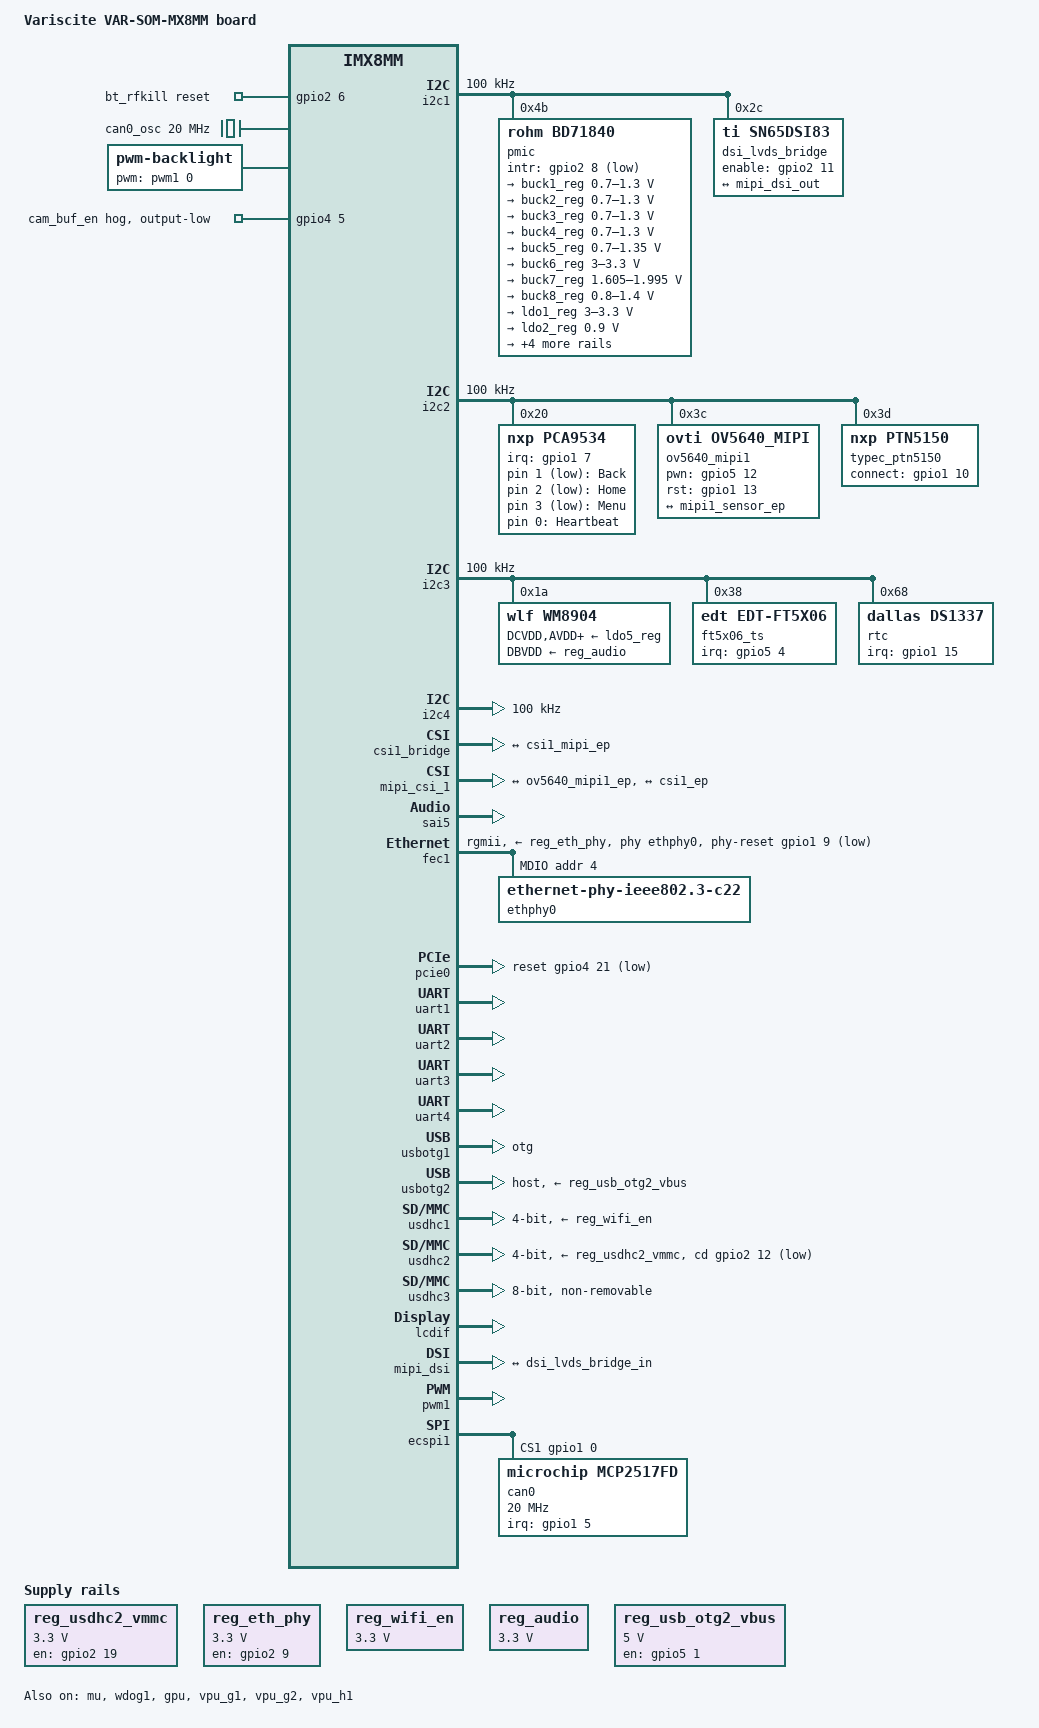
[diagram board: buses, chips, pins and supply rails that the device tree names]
/*
 * Copyright 2018 NXP
 * Copyright 2019 Variscite Ltd.
 *
 * This program is free software; you can redistribute it and/or
 * modify it under the terms of the GNU General Public License
 * as published by the Free Software Foundation; either version 2
 * of the License, or (at your option) any later version.
 *
 * This program is distributed in the hope that it will be useful,
 * but WITHOUT ANY WARRANTY; without even the implied warranty of
 * MERCHANTABILITY or FITNESS FOR A PARTICULAR PURPOSE.  See the
 * GNU General Public License for more details.
 */

/dts-v1/;

#include "fsl-imx8mm.dtsi"

/ {
	firmware {
		android {
			compatible = "android,firmware";
			fstab {
				compatible = "android,fstab";
				vendor {
					compatible = "android,vendor";
					/* sd card node which used if androidboot.storage_type=sd */
					dev_sd = "/dev/block/platform/30b50000.mmc/by-name/vendor";
					/* emmc node which used if androidboot.storage_type=emmc */
					dev_emmc = "/dev/block/platform/30b60000.mmc/by-name/vendor";
					type = "ext4";
					mnt_flags = "ro,barrier=1,inode_readahead_blks=8";
					fsmgr_flags = "wait,slotselect,avb";
				};
			};
			vbmeta {
				/*we need use FirstStageMountVBootV2 if we enable avb*/
				compatible = "android,vbmeta";
				/*parts means the partition witch can be mount in first stage*/
				parts = "vbmeta,boot,system,vendor";
			};
		};
	};

	bt_rfkill {
		compatible = "net,rfkill-gpio";
		pinctrl-names = "default";
		pinctrl-0 = <&pinctrl_bt>;
		reset-gpios = <&gpio2 6 GPIO_ACTIVE_HIGH>;
		name = "bt_rfkill";
		type = "bluetooth";
		status = "okay";
	};
};

/ {
	model = "Variscite VAR-SOM-MX8MM board";
	compatible = "variscite,dart-mx8mm", "fsl,imx8mm";

	chosen {
		bootargs = "console=ttymxc3,115200 earlycon=ec_imx6q,0x30a60000,115200";
		stdout-path = &uart4;
	};

	regulators {
		compatible = "simple-bus";
		#address-cells = <1>;
		#size-cells = <0>;

		reg_usdhc2_vmmc: regulator-usdhc2 {
			compatible = "regulator-fixed";
			regulator-name = "VSD_3V3";
			regulator-min-microvolt = <3300000>;
			regulator-max-microvolt = <3300000>;
			gpio = <&gpio2 19 GPIO_ACTIVE_HIGH>;
			off-on-delay = <20000>;
			enable-active-high;
		};

		reg_eth_phy: regulator-eth-phy {
			compatible = "regulator-fixed";
			regulator-name = "eth_phy_pwr";
			regulator-min-microvolt = <3300000>;
			regulator-max-microvolt = <3300000>;
			gpio = <&gpio2 9 GPIO_ACTIVE_HIGH>;
			enable-active-high;
		};

		reg_wifi_en: wifi_en {
			compatible = "regulator-fixed";
			regulator-name = "WIFI_REG_ON";
			regulator-min-microvolt = <3300000>;
			regulator-max-microvolt = <3300000>;
		};

		reg_audio: audio_vdd {
			compatible = "regulator-fixed";
			regulator-name = "wm8904_supply";
			regulator-min-microvolt = <3300000>;
			regulator-max-microvolt = <3300000>;
			regulator-always-on;
		};

                reg_usb_otg2_vbus: regulator-usb-otg2-vbus {
			compatible = "regulator-fixed";
			regulator-name = "usb_otg2_vbus";
			regulator-min-microvolt = <5000000>;
			regulator-max-microvolt = <5000000>;
			gpio = <&gpio5 1 GPIO_ACTIVE_HIGH>;
			enable-active-high;
		};
	};

	can0_osc: can0_osc {
		compatible = "fixed-clock";
		#clock-cells = <0>;
		clock-frequency = <20000000>;
	};

	reserved-memory {
		/* cma region is provided by kernel command line as cma=<size>M */
		/delete-node/ linux,cma;

		/delete-node/ rpmsg@0xb8000000;
		rpmsg_reserved: rpmsg@0x40000000 {
			no-map;
			reg = <0 0x40000000 0 0x400000>;
		};
	};

	sound-spdif {
		compatible = "fsl,imx-audio-spdif";
		model = "imx-spdif";
		spdif-controller = <&spdif1>;
		spdif-out;
		spdif-in;
		status = "disabled";
	};

	sound-wm8904 {
		compatible = "fsl,imx-audio-wm8904";
		model = "imx-wm8904";
		audio-cpu = <&sai5>;
		audio-codec = <&wm8904>;
		audio-routing =
			"Headphone Jack", "HPOUTL",
			"Headphone Jack", "HPOUTR",
			"IN2L", "Line In Jack",
			"IN2R", "Line In Jack",
			"IN1L", "Mic Jack",
			"Playback", "CPU-Playback",
			"CPU-Capture", "Capture";
		status = "okay";
	};

	backlight: backlight {
		compatible = "pwm-backlight";
		pwms = <&pwm1 0 1000000 0>;
		brightness-levels = < 0  1  2  3  4  5  6  7  8  9
				     10 11 12 13 14 15 16 17 18 19
				     20 21 22 23 24 25 26 27 28 29
				     30 31 32 33 34 35 36 37 38 39
				     40 41 42 43 44 45 46 47 48 49
				     50 51 52 53 54 55 56 57 58 59
				     60 61 62 63 64 65 66 67 68 69
				     70 71 72 73 74 75 76 77 78 79
				     80 81 82 83 84 85 86 87 88 89
				     90 91 92 93 94 95 96 97 98 99
				    100>;
		default-brightness-level = <80>;
		status = "okay";
	};

	gpio-keys {
		compatible = "gpio-keys";

		back {
			label = "Back";
			gpios = <&pca9534 1 GPIO_ACTIVE_LOW>;
			linux,code = <KEY_BACK>;
		};

		home {
			label = "Home";
			gpios = <&pca9534 2 GPIO_ACTIVE_LOW>;
			linux,code = <KEY_HOME>;
		};

		menu {
			label = "Menu";
			gpios = <&pca9534 3 GPIO_ACTIVE_LOW>;
			linux,code = <KEY_MENU>;
		};
	};

	leds {
		compatible = "gpio-leds";

		heartbeat {
			label = "Heartbeat";
			gpios = <&pca9534 0 GPIO_ACTIVE_HIGH>;
			linux,default-trigger = "heartbeat";
		};
	};
};

&clk {
	assigned-clocks = <&clk IMX8MM_AUDIO_PLL1>;
	assigned-clock-rates = <786432000>;
};

&iomuxc {
	pinctrl-names = "default";
	imx8mm-var-som {

		pinctrl_csi1: csi1grp {
			fsl,pins = <
				MX8MM_IOMUXC_GPIO1_IO13_GPIO1_IO13		0x19 /* CAM_RST */
				MX8MM_IOMUXC_ECSPI2_MISO_GPIO5_IO12		0x19 /* CAM_PWR */
				MX8MM_IOMUXC_SAI1_RXD3_GPIO4_IO5		0x19 /* CAM_BUF */
			>;
		};

		pinctrl_fec1: fec1grp {
			fsl,pins = <
				MX8MM_IOMUXC_ENET_MDC_ENET1_MDC			0x3
				MX8MM_IOMUXC_ENET_MDIO_ENET1_MDIO		0x3
				MX8MM_IOMUXC_ENET_TD3_ENET1_RGMII_TD3		0x1f
				MX8MM_IOMUXC_ENET_TD2_ENET1_RGMII_TD2		0x1f
				MX8MM_IOMUXC_ENET_TD1_ENET1_RGMII_TD1		0x1f
				MX8MM_IOMUXC_ENET_TD0_ENET1_RGMII_TD0		0x1f
				MX8MM_IOMUXC_ENET_RD3_ENET1_RGMII_RD3		0x91
				MX8MM_IOMUXC_ENET_RD2_ENET1_RGMII_RD2		0x91
				MX8MM_IOMUXC_ENET_RD1_ENET1_RGMII_RD1		0x91
				MX8MM_IOMUXC_ENET_RD0_ENET1_RGMII_RD0		0x91
				MX8MM_IOMUXC_ENET_TXC_ENET1_RGMII_TXC		0x1f
				MX8MM_IOMUXC_ENET_RXC_ENET1_RGMII_RXC		0x91
				MX8MM_IOMUXC_ENET_RX_CTL_ENET1_RGMII_RX_CTL	0x91
				MX8MM_IOMUXC_ENET_TX_CTL_ENET1_RGMII_TX_CTL	0x1f
				MX8MM_IOMUXC_GPIO1_IO09_GPIO1_IO9		0x19
				MX8MM_IOMUXC_SD1_DATA7_GPIO2_IO9		0x41
			>;
		};

		pinctrl_i2c1: i2c1grp {
			fsl,pins = <
				MX8MM_IOMUXC_I2C1_SCL_I2C1_SCL			0x400001c3
				MX8MM_IOMUXC_I2C1_SDA_I2C1_SDA			0x400001c3
			>;
		};

		pinctrl_i2c2: i2c2grp {
			fsl,pins = <
				MX8MM_IOMUXC_I2C2_SCL_I2C2_SCL			0x400001c3
				MX8MM_IOMUXC_I2C2_SDA_I2C2_SDA			0x400001c3
			>;
		};

		pinctrl_i2c3: i2c3grp {
			fsl,pins = <
				MX8MM_IOMUXC_I2C3_SCL_I2C3_SCL			0x400001c3
				MX8MM_IOMUXC_I2C3_SDA_I2C3_SDA			0x400001c3
			>;
		};

		pinctrl_i2c4: i2c4grp {
			fsl,pins = <
				MX8MM_IOMUXC_I2C4_SCL_I2C4_SCL			0x400001c3
				MX8MM_IOMUXC_I2C4_SDA_I2C4_SDA			0x400001c3
			>;
		};

		pinctrl_pcie0: pcie0grp {
			fsl,pins = <
				MX8MM_IOMUXC_SAI2_RXFS_GPIO4_IO21		0x41
			>;
		};

		pinctrl_pmic: pmicirq {
			fsl,pins = <
				MX8MM_IOMUXC_SD1_DATA6_GPIO2_IO8		0x41
			>;
		};

		pinctrl_sai5: sai5grp {
			fsl,pins = <
				MX8MM_IOMUXC_SAI5_RXD1_SAI5_TX_SYNC		0xd6
				MX8MM_IOMUXC_SAI5_RXFS_SAI5_RX_SYNC		0xd6
				MX8MM_IOMUXC_SAI5_RXD3_SAI5_TX_DATA0		0xd6
				MX8MM_IOMUXC_SAI5_RXD0_SAI5_RX_DATA0		0xd6
				MX8MM_IOMUXC_SAI5_RXC_SAI5_RX_BCLK		0xd6
				MX8MM_IOMUXC_SAI5_RXD2_SAI5_TX_BCLK		0xd6
				MX8MM_IOMUXC_SAI5_MCLK_SAI5_MCLK		0xd6	
			>;
		};

		pinctrl_spdif1: spdif1grp {
			fsl,pins = <
				MX8MM_IOMUXC_SPDIF_TX_SPDIF1_OUT		0xd6
				MX8MM_IOMUXC_SPDIF_RX_SPDIF1_IN			0xd6
			>;
		};

		pinctrl_uart1: uart1grp {
			fsl,pins = <
				MX8MM_IOMUXC_UART1_RXD_UART1_DCE_RX		0x140
				MX8MM_IOMUXC_UART1_TXD_UART1_DCE_TX		0x140
			>;
		};

		pinctrl_uart2: uart2grp {
			fsl,pins = <
				MX8MM_IOMUXC_SAI3_TXFS_UART2_DCE_RX		0x140
				MX8MM_IOMUXC_SAI3_TXC_UART2_DCE_TX		0x140
				MX8MM_IOMUXC_SAI3_RXC_UART2_DCE_CTS_B		0x140
				MX8MM_IOMUXC_SAI3_RXD_UART2_DCE_RTS_B		0x140
			>;
		};

		pinctrl_uart3: uart3grp {
			fsl,pins = <
				MX8MM_IOMUXC_UART3_RXD_UART3_DCE_RX		0x140
				MX8MM_IOMUXC_UART3_TXD_UART3_DCE_TX		0x140
			>;
		};

		pinctrl_uart4: uart4grp {
			fsl,pins = <
				MX8MM_IOMUXC_UART4_RXD_UART4_DCE_RX		0x140
				MX8MM_IOMUXC_UART4_TXD_UART4_DCE_TX		0x140
			>;
		};

		pinctrl_usdhc1: usdhc1grp {
			fsl,pins = <
				MX8MM_IOMUXC_SD1_CLK_USDHC1_CLK			0x190
				MX8MM_IOMUXC_SD1_CMD_USDHC1_CMD			0x1d0
				MX8MM_IOMUXC_SD1_DATA0_USDHC1_DATA0		0x1d0
				MX8MM_IOMUXC_SD1_DATA1_USDHC1_DATA1		0x1d0
				MX8MM_IOMUXC_SD1_DATA2_USDHC1_DATA2		0x1d0
				MX8MM_IOMUXC_SD1_DATA3_USDHC1_DATA3		0x1d0
			>;
		};

		pinctrl_usdhc1_100mhz: usdhc1grp100mhz {
			fsl,pins = <
				MX8MM_IOMUXC_SD1_CLK_USDHC1_CLK			0x194
				MX8MM_IOMUXC_SD1_CMD_USDHC1_CMD			0x1d4
				MX8MM_IOMUXC_SD1_DATA0_USDHC1_DATA0		0x1d4
				MX8MM_IOMUXC_SD1_DATA1_USDHC1_DATA1		0x1d4
				MX8MM_IOMUXC_SD1_DATA2_USDHC1_DATA2		0x1d4
				MX8MM_IOMUXC_SD1_DATA3_USDHC1_DATA3		0x1d4
			>;
		};

		pinctrl_usdhc1_200mhz: usdhc1grp200mhz {
			fsl,pins = <
				MX8MM_IOMUXC_SD1_CLK_USDHC1_CLK			0x196
				MX8MM_IOMUXC_SD1_CMD_USDHC1_CMD			0x1d6
				MX8MM_IOMUXC_SD1_DATA0_USDHC1_DATA0		0x1d6
				MX8MM_IOMUXC_SD1_DATA1_USDHC1_DATA1		0x1d6
				MX8MM_IOMUXC_SD1_DATA2_USDHC1_DATA2		0x1d6
				MX8MM_IOMUXC_SD1_DATA3_USDHC1_DATA3		0x1d6
			>;
		};

		pinctrl_usdhc2_gpio: usdhc2grpgpio {
			fsl,pins = <
				MX8MM_IOMUXC_SD2_RESET_B_GPIO2_IO19		0xc1
				MX8MM_IOMUXC_SD2_CD_B_GPIO2_IO12		0xc1
			>;
		};

		pinctrl_usdhc2: usdhc2grp {
			fsl,pins = <
				MX8MM_IOMUXC_SD2_CLK_USDHC2_CLK			0x190
				MX8MM_IOMUXC_SD2_CMD_USDHC2_CMD			0x1d0
				MX8MM_IOMUXC_SD2_DATA0_USDHC2_DATA0		0x1d0
				MX8MM_IOMUXC_SD2_DATA1_USDHC2_DATA1		0x1d0
				MX8MM_IOMUXC_SD2_DATA2_USDHC2_DATA2		0x1d0
				MX8MM_IOMUXC_SD2_DATA3_USDHC2_DATA3		0x1d0
				MX8MM_IOMUXC_GPIO1_IO04_USDHC2_VSELECT		0x1d0
			>;
		};

		pinctrl_usdhc2_100mhz: usdhc2grp100mhz {
			fsl,pins = <
				MX8MM_IOMUXC_SD2_CLK_USDHC2_CLK			0x194
				MX8MM_IOMUXC_SD2_CMD_USDHC2_CMD			0x1d4
				MX8MM_IOMUXC_SD2_DATA0_USDHC2_DATA0		0x1d4
				MX8MM_IOMUXC_SD2_DATA1_USDHC2_DATA1		0x1d4
				MX8MM_IOMUXC_SD2_DATA2_USDHC2_DATA2		0x1d4
				MX8MM_IOMUXC_SD2_DATA3_USDHC2_DATA3		0x1d4
				MX8MM_IOMUXC_GPIO1_IO04_USDHC2_VSELECT		0x1d0
			>;
		};

		pinctrl_usdhc2_200mhz: usdhc2grp200mhz {
			fsl,pins = <
				MX8MM_IOMUXC_SD2_CLK_USDHC2_CLK			0x196
				MX8MM_IOMUXC_SD2_CMD_USDHC2_CMD			0x1d6
				MX8MM_IOMUXC_SD2_DATA0_USDHC2_DATA0		0x1d6
				MX8MM_IOMUXC_SD2_DATA1_USDHC2_DATA1		0x1d6
				MX8MM_IOMUXC_SD2_DATA2_USDHC2_DATA2		0x1d6
				MX8MM_IOMUXC_SD2_DATA3_USDHC2_DATA3		0x1d6
				MX8MM_IOMUXC_GPIO1_IO04_USDHC2_VSELECT		0x1d0
			>;
		};

		pinctrl_usdhc3: usdhc3grp {
			fsl,pins = <
				MX8MM_IOMUXC_NAND_WE_B_USDHC3_CLK		0x190
				MX8MM_IOMUXC_NAND_WP_B_USDHC3_CMD		0x1d0
				MX8MM_IOMUXC_NAND_DATA04_USDHC3_DATA0		0x1d0
				MX8MM_IOMUXC_NAND_DATA05_USDHC3_DATA1		0x1d0
				MX8MM_IOMUXC_NAND_DATA06_USDHC3_DATA2		0x1d0
				MX8MM_IOMUXC_NAND_DATA07_USDHC3_DATA3		0x1d0
				MX8MM_IOMUXC_NAND_RE_B_USDHC3_DATA4		0x1d0
				MX8MM_IOMUXC_NAND_CE2_B_USDHC3_DATA5		0x1d0
				MX8MM_IOMUXC_NAND_CE3_B_USDHC3_DATA6		0x1d0
				MX8MM_IOMUXC_NAND_CLE_USDHC3_DATA7		0x1d0
				MX8MM_IOMUXC_NAND_CE1_B_USDHC3_STROBE 		0x190
			>;
		};

		pinctrl_usdhc3_100mhz: usdhc3grp100mhz {
			fsl,pins = <
				MX8MM_IOMUXC_NAND_WE_B_USDHC3_CLK		0x194
				MX8MM_IOMUXC_NAND_WP_B_USDHC3_CMD		0x1d4
				MX8MM_IOMUXC_NAND_DATA04_USDHC3_DATA0		0x1d4
				MX8MM_IOMUXC_NAND_DATA05_USDHC3_DATA1		0x1d4
				MX8MM_IOMUXC_NAND_DATA06_USDHC3_DATA2		0x1d4
				MX8MM_IOMUXC_NAND_DATA07_USDHC3_DATA3		0x1d4
				MX8MM_IOMUXC_NAND_RE_B_USDHC3_DATA4		0x1d4
				MX8MM_IOMUXC_NAND_CE2_B_USDHC3_DATA5		0x1d4
				MX8MM_IOMUXC_NAND_CE3_B_USDHC3_DATA6		0x1d4
				MX8MM_IOMUXC_NAND_CLE_USDHC3_DATA7		0x1d4
				MX8MM_IOMUXC_NAND_CE1_B_USDHC3_STROBE 		0x194
			>;
		};

		pinctrl_usdhc3_200mhz: usdhc3grp200mhz {
			fsl,pins = <
				MX8MM_IOMUXC_NAND_WE_B_USDHC3_CLK		0x196
				MX8MM_IOMUXC_NAND_WP_B_USDHC3_CMD		0x1d6
				MX8MM_IOMUXC_NAND_DATA04_USDHC3_DATA0		0x1d6
				MX8MM_IOMUXC_NAND_DATA05_USDHC3_DATA1		0x1d6
				MX8MM_IOMUXC_NAND_DATA06_USDHC3_DATA2		0x1d6
				MX8MM_IOMUXC_NAND_DATA07_USDHC3_DATA3		0x1d6
				MX8MM_IOMUXC_NAND_RE_B_USDHC3_DATA4		0x1d6
				MX8MM_IOMUXC_NAND_CE2_B_USDHC3_DATA5		0x1d6
				MX8MM_IOMUXC_NAND_CE3_B_USDHC3_DATA6		0x1d6
				MX8MM_IOMUXC_NAND_CLE_USDHC3_DATA7		0x1d6
				MX8MM_IOMUXC_NAND_CE1_B_USDHC3_STROBE 		0x196
			>;
		};

		pinctrl_wdog: wdoggrp {
			fsl,pins = <
				MX8MM_IOMUXC_GPIO1_IO02_WDOG1_WDOG_B		0xc6
			>;
		};

		pinctrl_wifi: wifigrp {
			fsl,pins = <
				MX8MM_IOMUXC_SD1_DATA5_GPIO2_IO7		0xc1	/* WIFI_3V3_PWR_EN */
				MX8MM_IOMUXC_SD2_WP_GPIO2_IO20			0x140	/* WIFI_1V8_PWR_EN */
				MX8MM_IOMUXC_SD1_RESET_B_GPIO2_IO10		0xc1	/* WIFI_REG_ON     */
			>;
		};

		pinctrl_bt: btgrp {
			fsl,pins = <
				MX8MM_IOMUXC_SD1_DATA4_GPIO2_IO6		0xc1	/* BT_REG_ON       */
			>;
		};

		pinctrl_typec: typecgrp {
			fsl,pins = <
				MX8MM_IOMUXC_GPIO1_IO10_GPIO1_IO10		0x16
			>;
		};

		pinctrl_rtc: rtcgrp {
			fsl,pins = <
				MX8MM_IOMUXC_GPIO1_IO15_GPIO1_IO15		0x1c1
			>;
		};

		pinctrl_lvds: lvdsgrp {
			fsl,pins = <
				MX8MM_IOMUXC_SD1_STROBE_GPIO2_IO11		0x16
			>;
		};

		pinctrl_pwm1: pwm1grp {
			fsl,pins = <
				MX8MM_IOMUXC_SPDIF_EXT_CLK_PWM1_OUT		0x06
			>;
		};

		pinctrl_captouch: captouchgrp {
			fsl,pins = <
				MX8MM_IOMUXC_SPDIF_RX_GPIO5_IO4			0x16
			>;
		};

		pinctrl_ecspi1: ecspi1grp {
			fsl,pins = <
				MX8MM_IOMUXC_ECSPI1_SCLK_ECSPI1_SCLK		0x13
				MX8MM_IOMUXC_ECSPI1_MOSI_ECSPI1_MOSI		0x13
				MX8MM_IOMUXC_ECSPI1_MISO_ECSPI1_MISO		0x13
				MX8MM_IOMUXC_GPIO1_IO14_GPIO1_IO14		0x13
				MX8MM_IOMUXC_GPIO1_IO00_GPIO1_IO0		0x13
			>;
		};

		pinctrl_can: cangrp {
			fsl,pins = <
				MX8MM_IOMUXC_GPIO1_IO05_GPIO1_IO5		0x16
			>;
		};

		pinctrl_restouch: restouchgrp {
			fsl,pins = <
				MX8MM_IOMUXC_GPIO1_IO03_GPIO1_IO3		0x1c0
			>;
		};

		pinctrl_usbotg2: usbotg2grp {
			fsl,pins = <
				MX8MM_IOMUXC_SAI3_TXD_GPIO5_IO1			0x16
			>;
		};

		pinctrl_pca9534: pca9534grp {
			fsl,pins = <
                        	   MX8MM_IOMUXC_GPIO1_IO07_GPIO1_IO7		0x16   
			>;
		};
	};
};

&i2c1 {
	clock-frequency = <100000>;
	pinctrl-names = "default";
	pinctrl-0 = <&pinctrl_i2c1>;
	status = "okay";

	pmic: bd71837@4b {
		reg = <0x4b>;
		compatible = "rohm,bd71840", "rohm,bd71837";
		pinctrl-0 = <&pinctrl_pmic>;
		gpio_intr = <&gpio2 8 GPIO_ACTIVE_LOW>;

		gpo {
			rohm,drv = <0x0C>;	/* 0b0000_1100 all gpos with cmos output mode */
		};

		regulators {
			#address-cells = <1>;
			#size-cells = <0>;

			bd71837,pmic-buck2-uses-i2c-dvs;
			bd71837,pmic-buck2-dvs-voltage = <1000000>, <900000>, <0>; /* VDD_ARM: Run-Idle */

			buck1_reg: regulator@0 {
				reg = <0>;
				regulator-compatible = "buck1";
				regulator-min-microvolt = <700000>;
				regulator-max-microvolt = <1300000>;
				regulator-boot-on;
				regulator-always-on;
				regulator-ramp-delay = <1250>;
			};

			buck2_reg: regulator@1 {
				reg = <1>;
				regulator-compatible = "buck2";
				regulator-min-microvolt = <700000>;
				regulator-max-microvolt = <1300000>;
				regulator-boot-on;
				regulator-always-on;
				regulator-ramp-delay = <1250>;
			};

			buck3_reg: regulator@2 {
				reg = <2>;
				regulator-compatible = "buck3";
				regulator-min-microvolt = <700000>;
				regulator-max-microvolt = <1300000>;
			};

			buck4_reg: regulator@3 {
				reg = <3>;
				regulator-compatible = "buck4";
				regulator-min-microvolt = <700000>;
				regulator-max-microvolt = <1300000>;
			};

			buck5_reg: regulator@4 {
				reg = <4>;
				regulator-compatible = "buck5";
				regulator-min-microvolt = <700000>;
				regulator-max-microvolt = <1350000>;
				regulator-boot-on;
				regulator-always-on;
			};

			buck6_reg: regulator@5 {
				reg = <5>;
				regulator-compatible = "buck6";
				regulator-min-microvolt = <3000000>;
				regulator-max-microvolt = <3300000>;
				regulator-boot-on;
				regulator-always-on;
			};

			buck7_reg: regulator@6 {
				reg = <6>;
				regulator-compatible = "buck7";
				regulator-min-microvolt = <1605000>;
				regulator-max-microvolt = <1995000>;
				regulator-boot-on;
				regulator-always-on;
			};

			buck8_reg: regulator@7 {
				reg = <7>;
				regulator-compatible = "buck8";
				regulator-min-microvolt = <800000>;
				regulator-max-microvolt = <1400000>;
				regulator-boot-on;
				regulator-always-on;
			};

			ldo1_reg: regulator@8 {
				reg = <8>;
				regulator-compatible = "ldo1";
				regulator-min-microvolt = <3000000>;
				regulator-max-microvolt = <3300000>;
				regulator-boot-on;
				regulator-always-on;
			};

			ldo2_reg: regulator@9 {
				reg = <9>;
				regulator-compatible = "ldo2";
				regulator-min-microvolt = <900000>;
				regulator-max-microvolt = <900000>;
				regulator-boot-on;
				regulator-always-on;
			};

			ldo3_reg: regulator@10 {
				reg = <10>;
				regulator-compatible = "ldo3";
				regulator-min-microvolt = <1800000>;
				regulator-max-microvolt = <3300000>;
				regulator-boot-on;
				regulator-always-on;
			};

			ldo4_reg: regulator@11 {
				reg = <11>;
				regulator-compatible = "ldo4";
				regulator-min-microvolt = <900000>;
				regulator-max-microvolt = <1800000>;
				regulator-boot-on;
				regulator-always-on;
			};

			ldo5_reg: regulator@12 {
				reg = <12>;
				regulator-compatible = "ldo5";
				regulator-min-microvolt = <1800000>;
				regulator-max-microvolt = <1800000>;
				regulator-always-on;
			};

			ldo6_reg: regulator@13 {
				reg = <13>;
				regulator-compatible = "ldo6";
				regulator-min-microvolt = <900000>;
				regulator-max-microvolt = <1800000>;
				regulator-boot-on;
				regulator-always-on;
			};
		};
	};

	dsi_lvds_bridge: sn65dsi84@2c {
		compatible = "ti,sn65dsi83";
		reg = <0x2c>;
		ti,dsi-lanes = <4>;
		ti,lvds-format = <1>;
		ti,lvds-bpp = <24>;
		ti,width-mm = <430>;
		ti,height-mm = <254>;
		enable-gpios = <&gpio2 11 GPIO_ACTIVE_HIGH>;
		pinctrl-names = "default";
		pinctrl-0 = <&pinctrl_lvds>;
		status = "okay";

		display-timings {
			lvds {
				clock-frequency = <33000000>;
				hactive = <800>;
				vactive = <480>;
				hback-porch = <40>;
				hfront-porch = <40>;
				vback-porch = <29>;
				vfront-porch = <13>;
				hsync-len = <48>;
				vsync-len = <3>;
				hsync-active = <0>;
				vsync-active = <0>;
				de-active = <1>;
				pixelclk-active = <0>;
			};
		};

		port {
			dsi_lvds_bridge_in: endpoint {
				remote-endpoint = <&mipi_dsi_out>;
			};
		};
	};
};

&i2c2 {
	clock-frequency = <100000>;
	pinctrl-names = "default";
	pinctrl-0 = <&pinctrl_i2c2>;
	status = "okay";

	/* GPIO expander */
	pca9534:gpio@20 {
		compatible = "nxp,pca9534";
		reg = <0x20>;
		gpio-controller;
		pinctrl-names = "default";
		pinctrl-0 = <&pinctrl_pca9534>;
		interrupt-parent = <&gpio1>;
		interrupts = <7 IRQ_TYPE_EDGE_FALLING>;
		#gpio-cells = <2>;
		wakeup-source;
        };

	ov5640_mipi1: ov5640_mipi1@3c {
		status = "okay";
		compatible = "ovti,ov5640_mipi";
		reg = <0x3c>;
		pinctrl-names = "default";
		pinctrl-0 = <&pinctrl_csi1>;
		clocks = <&clk IMX8MM_CLK_CLKO1_DIV>;
		clock-names = "csi_mclk";
/* Disabled CLKO2, since DART-MX8MM camera expansion board uses
 * its own oscillator. Enable CLK02 if your desing requres it
 */
#if 0
		assigned-clocks = <&clk IMX8MM_CLK_CLKO1_SRC>,
				  <&clk IMX8MM_CLK_CLKO1_DIV>;
		assigned-clock-parents = <&clk IMX8MM_CLK_24M>;
		assigned-clock-rates = <0>, <24000000>;
#endif
		csi_id = <0>;
		pwn-gpios = <&gpio5 12 GPIO_ACTIVE_HIGH>;
		rst-gpios = <&gpio1 13 GPIO_ACTIVE_HIGH>;
		mclk = <24000000>;
		mclk_source = <0>;
		port {
			ov5640_mipi1_ep: endpoint {
				remote-endpoint = <&mipi1_sensor_ep>;
			};
		};
	};

	/* USB-C controller */
	typec_ptn5150: typec@3d {
		status = "okay";
		compatible = "nxp,ptn5150";
		reg = <0x3d>;
		pinctrl-names = "default";
		pinctrl-0 = <&pinctrl_typec>;
		connect-gpios = <&gpio1 10 GPIO_ACTIVE_HIGH>;
	};
};

&i2c3 {
	clock-frequency = <100000>;
	pinctrl-names = "default";
	pinctrl-0 = <&pinctrl_i2c3>;
	status = "okay";

	wm8904: codec@1a {
		compatible = "wlf,wm8904";
		reg = <0x1a>;
		clocks = <&clk IMX8MM_CLK_SAI5_ROOT>;
		clock-names = "mclk";
		DCVDD-supply = <&ldo5_reg>;
		DBVDD-supply = <&reg_audio>;
		AVDD-supply = <&ldo5_reg>;
		CPVDD-supply = <&ldo5_reg>;
		MICVDD-supply = <&ldo5_reg>;
		status = "okay";
		gpio-cfg = <
			0x0018 /* GPIO1 => DMIC_CLK */
			0xffff /* GPIO2 => don't touch */
			0xffff /* GPIO3 => don't touch */
			0xffff /* GPIO4 => don't touch */
		>;
	};

	/* Capacitive touch controller */
	ft5x06_ts: ft5x06_ts@38 {
		status = "okay";
		compatible = "edt,edt-ft5x06";
		reg = <0x38>;
		pinctrl-names = "default";
		pinctrl-0 = <&pinctrl_captouch>;
		interrupt-parent = <&gpio5>;
		interrupts = <4 0>;
		touchscreen-size-x = <800>;
		touchscreen-size-y = <480>;
		touchscreen-inverted-x;
		touchscreen-inverted-y;
	};

	/* DS1337 RTC module */
	rtc@0x68 {
		status = "okay";
		compatible = "dallas,ds1337";
		reg = <0x68>;
		pinctrl-names = "default";
		pinctrl-0 = <&pinctrl_rtc>;
		interrupt-parent = <&gpio1>;
		interrupts = <15 IRQ_TYPE_EDGE_FALLING>;
	};
};

&i2c4 {
	clock-frequency = <100000>;
	pinctrl-names = "default";
	pinctrl-0 = <&pinctrl_i2c4>;
	status = "okay";
};

&csi1_bridge {
	fsl,mipi-mode;
	status = "okay";
	port {
		csi1_ep: endpoint {
			remote-endpoint = <&csi1_mipi_ep>;
		};
	};
};

&mipi_csi_1 {
	#address-cells = <1>;
	#size-cells = <0>;
	status = "okay";
	port {
		mipi1_sensor_ep: endpoint1 {
			remote-endpoint = <&ov5640_mipi1_ep>;
			data-lanes = <2>;
			csis-hs-settle = <13>;
			csis-clk-settle = <2>;
			csis-wclk;
		};

		csi1_mipi_ep: endpoint2 {
			remote-endpoint = <&csi1_ep>;
		};
	};
};

&mu {
	status = "okay";
};

&sai5 {
	pinctrl-names = "default";
	pinctrl-0 = <&pinctrl_sai5>;
	assigned-clocks = <&clk IMX8MM_CLK_SAI5_SRC>,
			<&clk IMX8MM_CLK_SAI5_DIV>;
	assigned-clock-parents = <&clk IMX8MM_AUDIO_PLL1_OUT>;
	assigned-clock-rates = <0>, <1536000>;
	status = "okay";
};

&spdif1 {
	pinctrl-names = "default";
	pinctrl-0 = <&pinctrl_spdif1>;
	assigned-clocks = <&clk IMX8MM_CLK_SPDIF1_SRC>,
			<&clk IMX8MM_CLK_SPDIF1_DIV>;
	assigned-clock-parents = <&clk IMX8MM_AUDIO_PLL1_OUT>;
	assigned-clock-rates = <0>, <24576000>;
	clocks = <&clk IMX8MM_CLK_AUDIO_AHB_DIV>, <&clk IMX8MM_CLK_24M>,
		<&clk IMX8MM_CLK_SPDIF1_DIV>, <&clk IMX8MM_CLK_DUMMY>,
		<&clk IMX8MM_CLK_DUMMY>, <&clk IMX8MM_CLK_DUMMY>,
		<&clk IMX8MM_CLK_AUDIO_AHB_DIV>, <&clk IMX8MM_CLK_DUMMY>,
		<&clk IMX8MM_CLK_DUMMY>, <&clk IMX8MM_CLK_DUMMY>,
		<&clk IMX8MM_AUDIO_PLL1_OUT>, <&clk IMX8MM_AUDIO_PLL2_OUT>;
	clock-names = "core", "rxtx0", "rxtx1", "rxtx2", "rxtx3",
		"rxtx4", "rxtx5", "rxtx6", "rxtx7", "spba", "pll8k", "pll11k";
	status = "disabled";
};

&fec1 {
	pinctrl-names = "default";
	pinctrl-0 = <&pinctrl_fec1>;
	phy-mode = "rgmii";
	phy-handle = <&ethphy0>;
	phy-supply = <&reg_eth_phy>;
	phy-reset-gpios = <&gpio1 9 GPIO_ACTIVE_LOW>;
	phy-reset-duration = <100>;
	phy-reset-post-delay = <100>;
	fsl,magic-packet;
	status = "okay";

	mdio {
		#address-cells = <1>;
		#size-cells = <0>;

		ethphy0: ethernet-phy@4 {
			compatible = "ethernet-phy-ieee802.3-c22";
			reg = <4>;
			at803x,led-act-blind-workaround;
			at803x,eee-disabled;
			at803x,vddio-1p8v;
		};
	};
};

&pcie0 {
	pinctrl-names = "default";
	pinctrl-0 = <&pinctrl_pcie0>;
	reset-gpio = <&gpio4 21 GPIO_ACTIVE_LOW>;
	ext_osc = <1>;
	status = "okay";
};

/* Header */
&uart1 {
	pinctrl-names = "default";
	pinctrl-0 = <&pinctrl_uart1>;
	status = "okay";
};

/* Bluetooth */
&uart2 {
	pinctrl-names = "default";
	pinctrl-0 = <&pinctrl_uart2>;
	assigned-clocks = <&clk IMX8MM_CLK_UART2_SRC>;
	assigned-clock-parents = <&clk IMX8MM_SYS_PLL1_80M>;
	uart-has-rtscts;
	status = "okay";
};

/* Header */
&uart3 {
	pinctrl-names = "default";
	pinctrl-0 = <&pinctrl_uart3>;
	status = "okay";
};

/* Console */
&uart4 {
	pinctrl-names = "default";
	pinctrl-0 = <&pinctrl_uart4>;
	status = "okay";
};

&usbotg1 {
	dr_mode = "otg";
	extcon = <0>, <&typec_ptn5150>;
	picophy,pre-emp-curr-control = <3>;
	picophy,dc-vol-level-adjust = <7>;
	status = "okay";
};

&usbotg2 {
	dr_mode = "host";
	pinctrl-names = "default";
	pinctrl-0 = <&pinctrl_usbotg2>;
	vbus-supply = <&reg_usb_otg2_vbus>;
	picophy,pre-emp-curr-control = <3>;
	picophy,dc-vol-level-adjust = <7>;
	srp-disable;
	hnp-disable;
	adp-disable;
	disable-over-current;
	status = "okay";
};

/* WIFI */
&usdhc1 {
	pinctrl-names = "default", "state_100mhz", "state_200mhz";
	pinctrl-0 = <&pinctrl_usdhc1>;
	pinctrl-1 = <&pinctrl_usdhc1_100mhz>;
	pinctrl-2 = <&pinctrl_usdhc1_200mhz>;
	bus-width = <4>;
	vmmc-supply = <&reg_wifi_en>;
	keep-power-in-suspend;
	status = "okay";
};

/* SD */
&usdhc2 {
	pinctrl-names = "default", "state_100mhz", "state_200mhz";
	pinctrl-0 = <&pinctrl_usdhc2>, <&pinctrl_usdhc2_gpio>;
	pinctrl-1 = <&pinctrl_usdhc2_100mhz>, <&pinctrl_usdhc2_gpio>;
	pinctrl-2 = <&pinctrl_usdhc2_200mhz>, <&pinctrl_usdhc2_gpio>;
	cd-gpios = <&gpio2 12 GPIO_ACTIVE_LOW>;
	bus-width = <4>;
	vmmc-supply = <&reg_usdhc2_vmmc>;
	status = "okay";
};

/* EMMC */
&usdhc3 {
	pinctrl-names = "default", "state_100mhz", "state_200mhz";
	pinctrl-0 = <&pinctrl_usdhc3>;
	pinctrl-1 = <&pinctrl_usdhc3_100mhz>;
	pinctrl-2 = <&pinctrl_usdhc3_200mhz>;
	bus-width = <8>;
	non-removable;
	status = "okay";
};

&wdog1 {
	pinctrl-names = "default";
	pinctrl-0 = <&pinctrl_wdog>;
	fsl,ext-reset-output;
	status = "okay";
};

&A53_0 {
	arm-supply = <&buck2_reg>;
};

&gpu {
	status = "okay";
};

&vpu_g1 {
	status = "okay";
};

&vpu_g2 {
	status = "okay";
};

&vpu_h1 {
	status = "okay";
};

&lcdif {
	status = "okay";
};

&mipi_dsi {
	status = "okay";

	port@1 {
		mipi_dsi_out: endpoint {
			remote-endpoint = <&dsi_lvds_bridge_in>;
		};
	};
};

&pwm1 {
	status = "okay";
	pinctrl-names = "default";
	pinctrl-0 = <&pinctrl_pwm1>;
};

&ecspi1 {
	pinctrl-names = "default";
	pinctrl-0 = <&pinctrl_ecspi1>;
	cs-gpios = <&gpio1 14 GPIO_ACTIVE_HIGH>,
		   <&gpio1  0 GPIO_ACTIVE_HIGH>;
	fsl,spi-num-chipselects = <2>;
	/delete-property/ dmas;
	/delete-property/ dma-names;
	status = "okay";

	/* Resistive touch controller */
	ads7846@0 {
		reg = <0>;
		compatible = "ti,ads7846";
		pinctrl-names = "default";
		pinctrl-0 = <&pinctrl_restouch>;
		interrupt-parent = <&gpio1>;
		interrupts = <3 IRQ_TYPE_EDGE_FALLING>;
		spi-max-frequency = <1500000>;
		pendown-gpio = <&gpio1 3 GPIO_ACTIVE_LOW>;
		ti,x-min = /bits/ 16 <125>;
		ti,x-max = /bits/ 16 <4008>;
		ti,y-min = /bits/ 16 <282>;
		ti,y-max = /bits/ 16 <3864>;
		ti,x-plate-ohms = /bits/ 16 <180>;
		ti,pressure-max = /bits/ 16 <255>;
		ti,debounce-max = /bits/ 16 <10>;
		ti,debounce-tol = /bits/ 16 <3>;
		ti,debounce-rep = /bits/ 16 <1>;
		ti,settle-delay-usec = /bits/ 16 <150>;
		ti,keep-vref-on;
		wakeup-source;
		status = "disabled";
	};

	can0: can@1 {
		compatible = "microchip,mcp2517fd";
		reg = <1>;
		pinctrl-names = "default";
		pinctrl-0 = <&pinctrl_can>;
		clocks = <&can0_osc>;
		interrupt-parent = <&gpio1>;
		interrupts = <5 IRQ_TYPE_EDGE_FALLING>;
		spi-max-frequency = <20000000>;
		status = "okay";
	};
};

&snvs_rtc {
	status = "disabled";
};

&gpio4 {
	cam_buf_hog {
		gpio-hog;
		gpios = <5 0>;
		output-low;
		line-name = "cam_buf_en";
	};
};

&pca9534 {
	usb3_sel_hog {
		gpio-hog;
		gpios = <4 0>;
		output-high;
		line-name = "usb3_sel";
	};

	enet_rst_hog {
		gpio-hog;
		gpios = <5 0>;
		output-low;
		line-name = "enet_rst";
	};

	som_vsel_hog {
		gpio-hog;
		gpios = <6 0>;
		output-low;
		line-name = "som_vsel";
	};

	enet_sel_hog {
		gpio-hog;
		gpios = <7 0>;
		output-low;
		line-name = "enet_sel";
	};
};

&crypto {
	status = "disabled";
};
